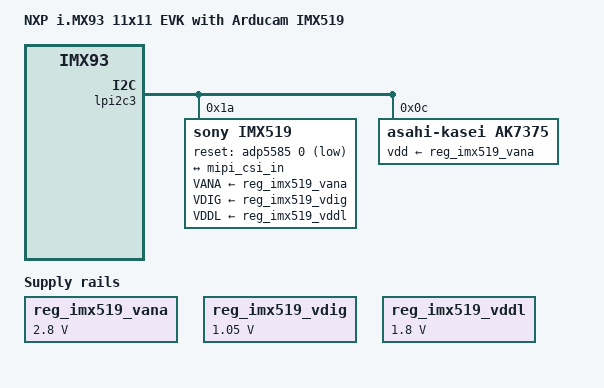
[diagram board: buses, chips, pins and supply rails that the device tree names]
// SPDX-License-Identifier: GPL-2.0
/*
 * i.MX93 11x11 EVK + Arducam IMX519, linux-imx lf-6.12 / lf-6.18.
 *
 * Replaces AP1302 on the MiniSAS CSI connector (J801). Needs an
 * RPi-CAM-to-MiniSAS adapter; the socket is not a Pi camera socket.
 *
 * For lf-6.1 / lf-6.6, use imx93-11x11-evk-imx519-lf66.dts instead: the
 * CSI graph labels differ (isi_0 / cameradev rather than mipi_csi_in).
 *
 * Boot:
 *   setenv fdtfile imx93-11x11-evk-imx519.dtb
 */
#include "imx93-11x11-evk.dts"

/ {
	model = "NXP i.MX93 11x11 EVK with Arducam IMX519";
	compatible = "fsl,imx93-11x11-evk-imx519", "fsl,imx93-11x11-evk",
		     "fsl,imx93";

	/*
	 * The Arducam B0371 regulates its own rails from the 3.3 V the camera
	 * connector supplies, so model all three as always-on fixed regulators.
	 *
	 * Do not reuse the stock reg_avdd_2v8 / reg_vddio_1v8: those are gated
	 * by an ADP5585 I/O expander that belongs to NXP's camera module. With
	 * that module absent the expander never probes and the sensor is stuck
	 * in deferred probe ("supplier regulator-vddo not ready").
	 */
	reg_imx519_vana: regulator-imx519-vana {
		compatible = "regulator-fixed";
		regulator-name = "imx519_vana";
		regulator-min-microvolt = <2800000>;
		regulator-max-microvolt = <2800000>;
		regulator-always-on;
	};

	reg_imx519_vdig: regulator-imx519-vdig {
		compatible = "regulator-fixed";
		regulator-name = "imx519_vdig";
		regulator-min-microvolt = <1050000>;
		regulator-max-microvolt = <1050000>;
		regulator-always-on;
	};

	reg_imx519_vddl: regulator-imx519-vddl {
		compatible = "regulator-fixed";
		regulator-name = "imx519_vddl";
		regulator-min-microvolt = <1800000>;
		regulator-max-microvolt = <1800000>;
		regulator-always-on;
	};
};

/* 6.12+ CSI graph: imx519 -> mipi_csi_in -> mipi_csi_out -> isi_in */
&mipi_csi_in {
	remote-endpoint = <&imx519_ep>;
	data-lanes = <1 2>;
	clock-lanes = <0>;
};

&lpi2c3 {
	/delete-node/ ap1302_mipi@3c;

	imx519: imx519@1a {
		compatible = "sony,imx519";
		reg = <0x1a>;
		status = "okay";

		clocks = <&clk IMX93_CLK_24M>;
		clock-names = "xclk";

		/* XCLR, on the same expander line the AP1302 used for reset. */
		reset-gpios = <&adp5585 0 GPIO_ACTIVE_LOW>;

		VANA-supply = <&reg_imx519_vana>;
		VDIG-supply = <&reg_imx519_vdig>;
		VDDL-supply = <&reg_imx519_vddl>;

		rotation = <0>;
		orientation = <2>;
		lens-focus = <&ak7375>;

		port {
			imx519_ep: endpoint {
				remote-endpoint = <&mipi_csi_in>;
				clock-lanes = <0>;
				data-lanes = <1 2>;
				clock-noncontinuous;
				link-frequencies = /bits/ 64 <408000000>;
			};
		};
	};

	ak7375: ak7375@c {
		compatible = "asahi-kasei,ak7375";
		reg = <0x0c>;
		status = "okay";
		vdd-supply = <&reg_imx519_vana>;
	};
};
